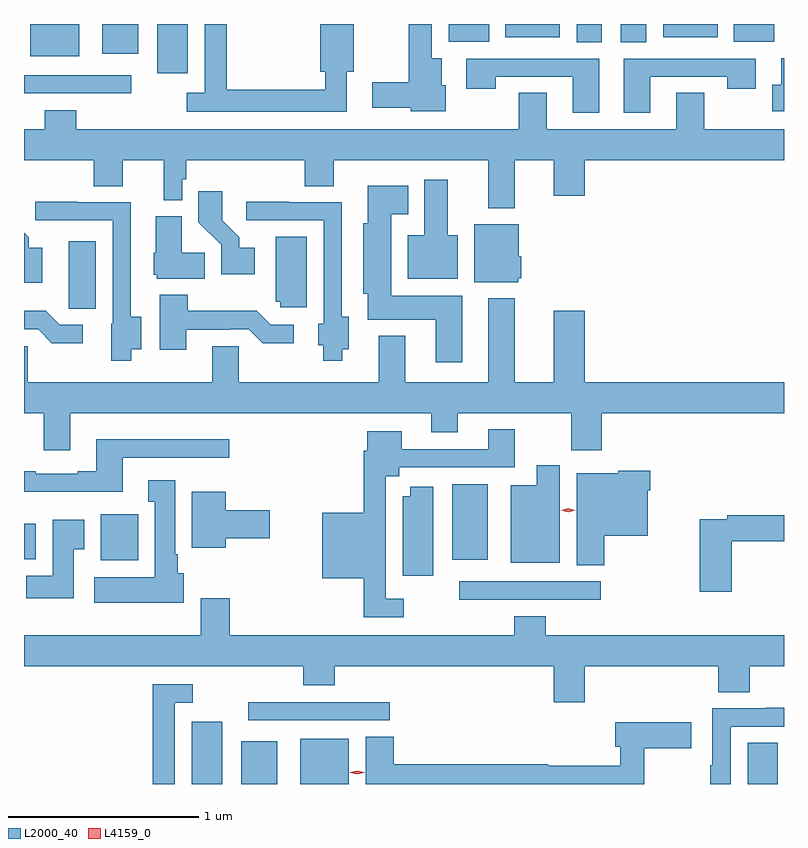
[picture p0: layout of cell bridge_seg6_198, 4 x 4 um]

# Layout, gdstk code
import gdstk
lib = gdstk.Library(unit=1e-6, precision=1e-09)
def R(c, l, rs):  # rectangles x0, y0, x1, y1
    for r in rs: c.add(gdstk.rectangle(r[:2], r[2:], *l))
def P(c, l, *ps):  # polygons
    for p in ps: c.add(gdstk.Polygon(p, *l))
L2000_40 = (2000, 40)
L4159_0 = (4159, 0)

bridge_seg6_198 = lib.new_cell('bridge_seg6_198')
R(bridge_seg6_198, L2000_40, [(139.127,965.365,139.288,965.692), (139.388,965.365,139.576,965.59), (139.697,965.365,139.954,965.602), (142.052,965.365,142.21,965.581), (139.425,965.7,140.17,965.796), (140.535,966.336,141.28,966.432), (138.647,966.542,138.844,966.784), (140.498,966.545,140.686,966.943), (138.244,966.548,138.307,966.736), (138.244,969,138.808,969.096), (138.944,969.105,139.105,969.365), (138.278,969.194,138.535,969.365), (138.656,969.209,138.844,969.365), (141.152,969.268,141.286,969.365), (141.386,969.268,141.52,969.365), (140.48,969.272,140.692,969.365), (141.98,969.272,142.192,969.365), (140.777,969.296,141.064,969.365), (141.608,969.296,141.895,969.365)])
P(bridge_seg6_198, L2000_40, [(139.942,969.113),(139.98,969.113),(139.98,969.365),(139.802,969.365),(139.802,969.113),(139.829,969.113),(139.829,969.02),(139.31,969.02),(139.31,969.365),(139.194,969.365),(139.194,969.004),(139.101,969.004),(139.101,968.904),(139.942,968.904)],
  [(140.464,969.042),(140.443,969.042),(140.443,969.184),(140.389,969.184),(140.389,969.365),(140.269,969.365),(140.269,969.059),(140.076,969.059),(140.076,968.924),(140.28,968.924),(140.28,968.906),(140.464,968.906)],
  [(142.244,969.184),(142.229,969.184),(142.229,969.046),(142.181,969.046),(142.181,968.906),(142.244,968.906)],
  [(141.541,969.087),(141.946,969.087),(141.946,969.024),(142.096,969.024),(142.096,969.183),(141.401,969.183),(141.401,968.898),(141.541,968.898)],
  [(141.271,969.183),(140.571,969.183),(140.571,969.024),(140.727,969.024),(140.727,969.087),(141.131,969.087),(141.131,968.898),(141.271,968.898)],
  [(142.244,968.812),(141.825,968.812),(141.825,969.002),(141.677,969.002),(141.677,968.812),(140.995,968.812),(140.995,969.002),(140.848,969.002),(140.848,968.812),(138.518,968.812),(138.518,968.911),(138.353,968.911),(138.353,968.812),(138.244,968.812),(138.244,968.648),(138.611,968.648),(138.611,968.512),(138.763,968.512),(138.763,968.648),(138.98,968.648),(138.98,968.438),(139.077,968.438),(139.077,968.547),(139.097,968.547),(139.097,968.648),(139.721,968.648),(139.721,968.512),(139.873,968.512),(139.873,968.648),(140.687,968.648),(140.687,968.396),(140.827,968.396),(140.827,968.648),(141.032,968.648),(141.032,968.46),(141.196,968.46),(141.196,968.648),(142.244,968.648)],
  [(140.527,968.254),(140.473,968.254),(140.473,968.545),(140.351,968.545),(140.351,968.254),(140.264,968.254),(140.264,968.024),(140.527,968.024)],
  [(140.551,967.936),(140.176,967.936),(140.176,968.363),(140.266,968.363),(140.266,968.515),(140.054,968.515),(140.054,968.316),(140.03,968.316),(140.03,967.944),(140.054,967.944),(140.054,967.808),(140.411,967.808),(140.411,967.584),(140.551,967.584)],
  [(139.459,968.188),(139.378,968.188),(139.378,968.243),(139.288,968.333),(139.288,968.485),(139.162,968.485),(139.162,968.322),(139.281,968.203),(139.281,968.048),(139.459,968.048)],
  [(139.919,967.652),(139.954,967.652),(139.954,967.823),(139.917,967.823),(139.917,968.427),(139.637,968.427),(139.637,968.43),(139.413,968.43),(139.413,968.331),(139.821,968.331),(139.821,967.788),(139.793,967.788),(139.793,967.674),(139.82,967.674),(139.82,967.592),(139.919,967.592)],
  [(138.808,967.652),(138.862,967.652),(138.862,967.823),(138.807,967.823),(138.807,968.427),(138.527,968.427),(138.527,968.43),(138.303,968.43),(138.303,968.331),(138.711,968.331),(138.711,967.788),(138.704,967.788),(138.704,967.592),(138.808,967.592)],
  [(139.196,968.162),(139.075,968.162),(139.075,968.353),(138.938,968.353),(138.938,968.16),(138.926,968.16),(138.926,968.046),(138.942,968.046),(138.942,968.024),(139.196,968.024)],
  [(140.844,968.028),(140.86,968.028),(140.86,968.142),(140.848,968.142),(140.848,968.311),(140.615,968.311),(140.615,968.006),(140.844,968.006)],
  [(138.34,968.188),(138.268,968.188),(138.268,968.243),(138.244,968.267),(138.244,968.003),(138.34,968.003)],
  [(139.732,968.246),(139.568,968.246),(139.568,967.902),(139.593,967.902),(139.593,967.875),(139.732,967.875)],
  [(138.622,968.221),(138.479,968.221),(138.479,967.978),(138.48,967.978),(138.48,967.867),(138.622,967.867)],
  [(139.099,967.755),(139.328,967.755),(139.328,967.758),(139.428,967.758),(139.501,967.685),(139.663,967.685),(139.663,967.782),(139.542,967.782),(139.469,967.855),(139.107,967.855),(139.107,967.939),(138.959,967.939),(138.959,967.65),(139.099,967.65)],
  [(138.487,967.316),(140.387,967.316),(140.387,967.217),(140.527,967.217),(140.527,967.316),(141.124,967.316),(141.124,967.122),(141.284,967.122),(141.284,967.316),(142.244,967.316),(142.244,967.48),(141.196,967.48),(141.196,967.855),(141.032,967.855),(141.032,967.48),(140.827,967.48),(140.827,967.921),(140.687,967.921),(140.687,967.48),(140.251,967.48),(140.251,967.723),(140.111,967.723),(140.111,967.48),(139.374,967.48),(139.374,967.67),(139.235,967.67),(139.235,967.48),(138.264,967.48),(138.264,967.67),(138.244,967.67),(138.244,967.316),(138.347,967.316),(138.347,967.122),(138.487,967.122)],
  [(138.553,967.782),(138.432,967.782),(138.359,967.855),(138.244,967.855),(138.244,967.758),(138.318,967.758),(138.391,967.685),(138.553,967.685)],
  [(140.242,966.339),(140.149,966.339),(140.149,966.689),(140.148,966.689),(140.148,966.986),(140.218,966.986),(140.218,967.032),(140.827,967.032),(140.827,967.231),(140.687,967.231),(140.687,967.128),(140.233,967.128),(140.233,967.222),(140.051,967.222),(140.051,967.118),(140.032,967.118),(140.032,966.793),(139.814,966.793),(139.814,966.449),(140.032,966.449),(140.032,966.243),(140.242,966.243)],
  [(138.763,967.083),(139.324,967.083),(139.324,967.18),(138.623,967.18),(138.623,967.012),(138.527,967.012),(138.527,966.999),(138.307,966.999),(138.307,967.012),(138.244,967.012),(138.244,966.902),(138.763,966.902)],
  [(141.064,967.042),(140.942,967.042),(140.942,966.937),(140.807,966.937),(140.807,966.53),(141.064,966.53)],
  [(141.299,966.671),(141.526,966.671),(141.526,966.911),(141.539,966.911),(141.539,967.015),(141.372,967.015),(141.372,967),(141.152,967),(141.152,966.517),(141.299,966.517)],
  [(139.084,966.474),(139.054,966.474),(139.054,966.574),(139.039,966.574),(139.039,966.964),(138.899,966.964),(138.899,966.851),(138.932,966.851),(138.932,966.454),(138.615,966.454),(138.615,966.32),(139.084,966.32)],
  [(140.398,966.929),(140.276,966.929),(140.276,966.88),(140.237,966.88),(140.237,966.462),(140.398,966.462)],
  [(139.306,966.659),(139.537,966.659),(139.537,966.806),(139.306,966.806),(139.306,966.904),(139.127,966.904),(139.127,966.608),(139.306,966.608)],
  [(141.97,966.643),(142.244,966.643),(142.244,966.779),(141.946,966.779),(141.946,966.759),(141.8,966.759),(141.8,966.378),(141.97,966.378)],
  [(138.505,966.601),(138.562,966.601),(138.562,966.757),(138.395,966.757),(138.395,966.46),(138.256,966.46),(138.256,966.342),(138.505,966.342)],
  [(141.196,965.984),(141.899,965.984),(141.899,965.848),(142.064,965.848),(142.064,965.984),(142.244,965.984),(142.244,966.148),(140.99,966.148),(140.99,966.247),(140.825,966.247),(140.825,966.148),(139.328,966.148),(139.328,966.343),(139.175,966.343),(139.175,966.148),(138.244,966.148),(138.244,965.984),(139.715,965.984),(139.715,965.885),(139.88,965.885),(139.88,965.984),(141.032,965.984),(141.032,965.796),(141.196,965.796)],
  [(139.038,965.793),(139.132,965.793),(139.132,965.889),(138.922,965.889),(138.922,965.365),(139.038,965.365)],
  [(141.963,965.667),(142.244,965.667),(142.244,965.766),(142.147,965.766),(142.147,965.763),(141.867,965.763),(141.867,965.465),(141.855,965.465),(141.855,965.365),(141.963,965.365)],
  [(141.508,965.554),(141.757,965.554),(141.757,965.691),(141.356,965.691),(141.356,965.561),(141.383,965.561),(141.383,965.461),(141.002,965.461),(141.002,965.468),(140.189,965.468),(140.189,965.615),(140.042,965.615),(140.042,965.365),(141.508,965.365)])
P(bridge_seg6_198, L4159_0, [(141.108,966.796),(141.072,966.806),(141.072,966.806),(141.072,966.806),(141.108,966.816),(141.144,966.807),(141.144,966.807),(141.144,966.806)],
  [(139.999,965.416),(139.961,965.425),(139.961,965.426),(139.961,965.426),(139.999,965.436),(140.036,965.426),(140.036,965.426),(140.036,965.425)])

lib.write_gds('bridge_seg6_198.gds')
